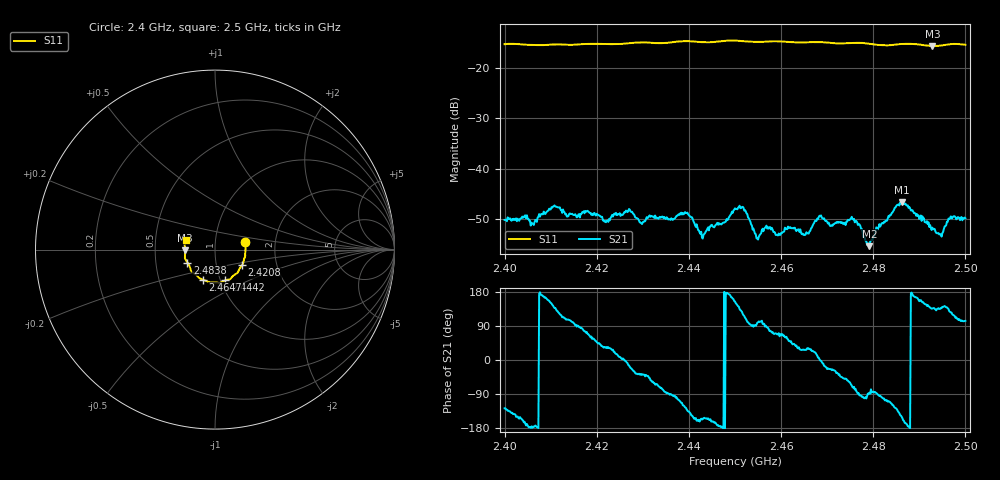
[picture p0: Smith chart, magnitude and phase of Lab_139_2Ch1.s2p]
# Hz S RI R
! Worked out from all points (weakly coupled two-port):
!   601 points, 2.4 GHz to 2.5 GHz, reference 50 ohm
!   highest |S21| = -46.70 dB at 2.4862 GHz (marker M1); lowest = -55.4 dB at 2.4792 GHz (marker M2)
!   lowest |S11| = -15.6 dB at 2.4928 GHz (marker M3), VSWR 1.40, Z = 35.8 - j0.355 ohm
!   |S11| at or under -10 dB: start of sweep to end of sweep
!   S12 and S22 are empty: the file has one direction only
!   S11 on the Smith chart (normalised r, x): 2.4 GHz: 1.40, +0.12; 2.4208 GHz: 1.33, -0.24; 2.4442 GHz: 1.05, -0.37; 2.4647 GHz: 0.83, -0.29; 2.4838 GHz: 0.73, -0.11; 2.5 GHz: 0.72, +0.08
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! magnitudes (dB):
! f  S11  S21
! 2.4 GHz  -15.3  -50.2
! 2.4062 GHz  -15.4  -51.0
! 2.4107 GHz  -15.3  -47.5
! 2.4167 GHz  -15.2  -49.0
! 2.4208 GHz  -15.2  -49.6
! 2.4333 GHz  -15.1  -50.0
! 2.4395 GHz  -14.6  -48.8
! 2.4427 GHz  -14.8  -52.5
! 2.4442 GHz  -14.9  -51.7
! 2.45 GHz  -14.5  -47.9
! 2.452 GHz  -14.7  -48.3
! 2.4548 GHz  -14.8  -53.9
! 2.4647 GHz  -14.9  -52.9
! 2.4667 GHz  -14.8  -51.7
! 2.4683 GHz  -14.8  -49.4
! 2.4753 GHz  -15.0  -49.6
! 2.4792 GHz  -15.2  -55.4
! 2.4833 GHz  -15.5  -49.4
! 2.4838 GHz  -15.4  -49.2
! 2.4862 GHz  -15.2  -46.7
! 2.4928 GHz  -15.6  -51.7
! 2.5 GHz  -15.4  -49.9
